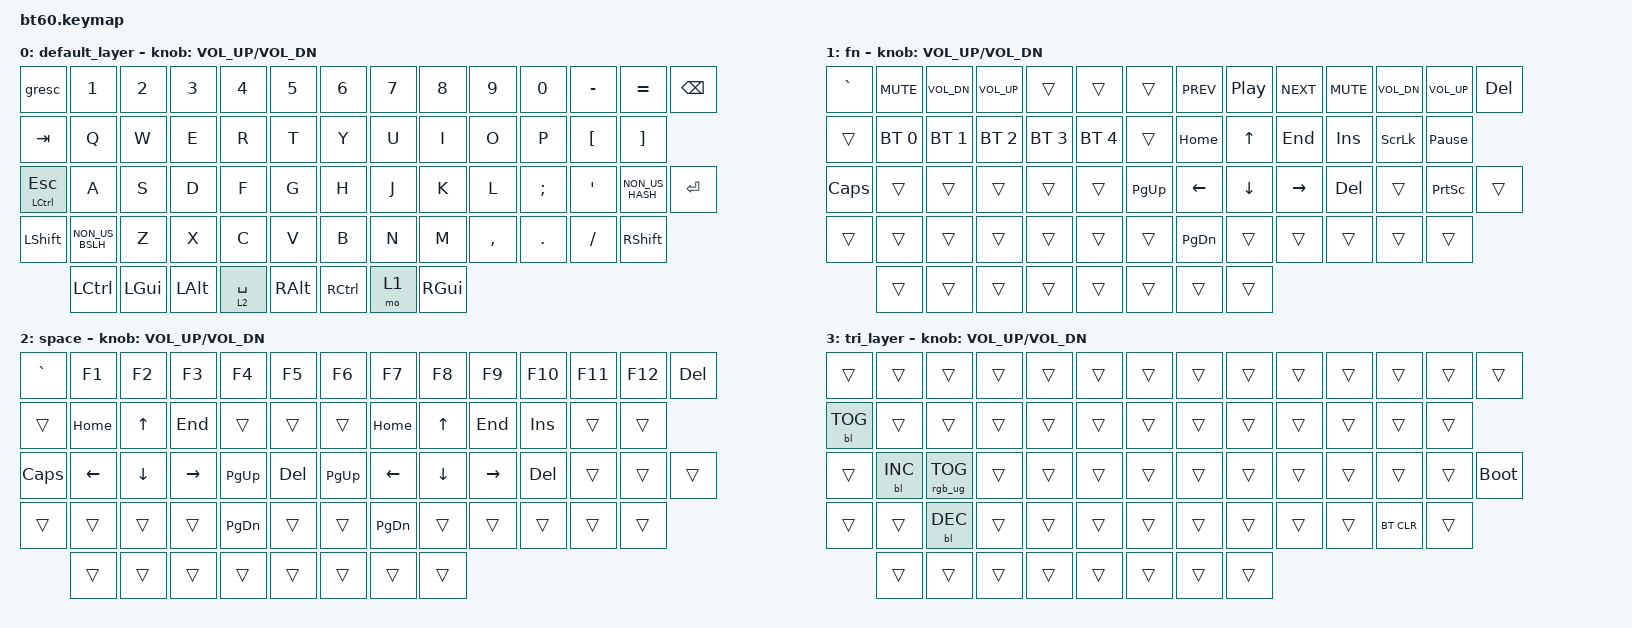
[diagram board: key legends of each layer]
#include <behaviors.dtsi>
#include <dt-bindings/zmk/backlight.h>
#include <dt-bindings/zmk/bt.h>
#include <dt-bindings/zmk/keys.h>
#include <dt-bindings/zmk/rgb.h>

&gresc { keep-mods = <(MOD_LSFT|MOD_RSFT)>; };

/ {
    combos {
        compatible = "zmk,combos";

        combo_tog_2 {
            bindings = <&tog 2>;
            key-positions = <61 57>;
        };
    };

    keymap {
        compatible = "zmk,keymap";

        default_layer {
            // ------------------------------------------------------------------------------------------
            // |  `  |  1  |  2  |  3  |  4  |  5  |  6  |  7  |  8  |  9  |  0  |  -  |  =  |   BKSP
            // | TAB  |  Q  |  W  |  E  |  R  |  T  |  Y  |  U  |  I  |  O  |  P  |  [  |  ]  |        |
            // | CAPS  |  A  |  S  |  D  |  F  |  G  |  H  |  J  |  K  |  L  |  ;  |  '  |  #  | ENTER |
            // |  SHIFT|  \ |  Z  |  X  |  C  |  V  |  B  |  N  |  M  |  ,  |  .  | /   |    SHIFT    |
            // |  CTL  |  WIN  |  ALT  |            SPACE               | ALT | 1    |  MENU    |  CTRL|
            // ------------------------------------------------------------------------------------------

            bindings = <
&gresc            &kp N1           &kp N2    &kp N3    &kp N4       &kp N5    &kp N6     &kp N7  &kp N8    &kp N9     &kp N0    &kp MINUS  &kp EQUAL        &kp BSPC
&kp TAB           &kp Q            &kp W     &kp E     &kp R        &kp T     &kp Y      &kp U   &kp I     &kp O      &kp P     &kp LBKT   &kp RBKT
&mt LCTRL ESCAPE  &kp A            &kp S     &kp D     &kp F        &kp G     &kp H      &kp J   &kp K     &kp L      &kp SEMI  &kp SQT    &kp NON_US_HASH  &kp RET
&kp LSHFT         &kp NON_US_BSLH  &kp Z     &kp X     &kp C        &kp V     &kp B      &kp N   &kp M     &kp COMMA  &kp DOT   &kp FSLH   &kp RSHFT
                  &kp LCTRL        &kp LGUI  &kp LALT  &lt 2 SPACE  &kp RALT  &kp RCTRL  &mo 1   &kp RGUI
            >;

            sensor-bindings = <&inc_dec_kp C_VOL_UP C_VOL_DN>;
        };

        fn {
            bindings = <
&kp GRAVE  &kp C_MUTE    &kp C_VOL_DN  &kp C_VOL_UP  &trans        &trans        &trans     &kp C_PREV  &kp C_PP  &kp C_NEXT  &kp C_MUTE  &kp C_VOL_DN  &kp C_VOL_UP     &kp DEL
&trans     &bt BT_SEL 0  &bt BT_SEL 1  &bt BT_SEL 2  &bt BT_SEL 3  &bt BT_SEL 4  &trans     &kp HOME    &kp UP    &kp END     &kp INS     &kp SLCK      &kp PAUSE_BREAK
&kp CAPS   &trans        &trans        &trans        &trans        &trans        &kp PG_UP  &kp LEFT    &kp DOWN  &kp RIGHT   &kp DEL     &trans        &kp PSCRN        &trans
&trans     &trans        &trans        &trans        &trans        &trans        &trans     &kp PG_DN   &trans    &trans      &trans      &trans        &trans
           &trans        &trans        &trans        &trans        &trans        &trans     &trans      &trans
            >;

            sensor-bindings = <&inc_dec_kp C_VOL_UP C_VOL_DN>;
        };

        space {
            bindings = <
&kp GRAVE  &kp F1    &kp F2    &kp F3     &kp F4     &kp F5   &kp F6     &kp F7     &kp F8    &kp F9     &kp F10  &kp F11  &kp F12  &kp DEL
&trans     &kp HOME  &kp UP    &kp END    &trans     &trans   &trans     &kp HOME   &kp UP    &kp END    &kp INS  &trans   &trans
&kp CAPS   &kp LEFT  &kp DOWN  &kp RIGHT  &kp PG_UP  &kp DEL  &kp PG_UP  &kp LEFT   &kp DOWN  &kp RIGHT  &kp DEL  &trans   &trans   &trans
&trans     &trans    &trans    &trans     &kp PG_DN  &trans   &trans     &kp PG_DN  &trans    &trans     &trans   &trans   &trans
           &trans    &trans    &trans     &trans     &trans   &trans     &trans     &trans
            >;

            sensor-bindings = <&inc_dec_kp C_VOL_UP C_VOL_DN>;
        };

        tri_layer {
            bindings = <
&trans      &trans      &trans           &trans  &trans  &trans  &trans  &trans  &trans  &trans  &trans  &trans      &trans  &trans
&bl BL_TOG  &trans      &trans           &trans  &trans  &trans  &trans  &trans  &trans  &trans  &trans  &trans      &trans
&trans      &bl BL_INC  &rgb_ug RGB_TOG  &trans  &trans  &trans  &trans  &trans  &trans  &trans  &trans  &trans      &trans  &bootloader
&trans      &trans      &bl BL_DEC       &trans  &trans  &trans  &trans  &trans  &trans  &trans  &trans  &bt BT_CLR  &trans
            &trans      &trans           &trans  &trans  &trans  &trans  &trans  &trans
            >;

            sensor-bindings = <&inc_dec_kp C_VOL_UP C_VOL_DN>;
        };
    };

    conditional_layers {
        compatible = "zmk,conditional-layers";

        fn+space {
            if-layers = <1 2>;
            then-layer = <3>;
        };
    };
};
